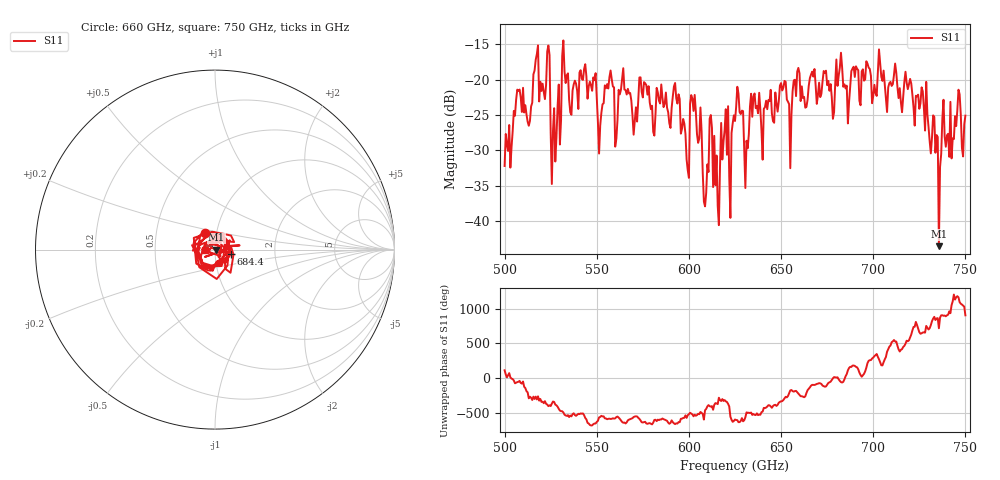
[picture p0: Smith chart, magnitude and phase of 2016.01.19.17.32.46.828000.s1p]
!Created with skrf (http://scikit-rf.org).
# GHz S RI R 50.0
!freq ReS11 ImS11
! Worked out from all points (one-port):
!   401 points, 500 GHz to 750 GHz, reference 50 ohm
!   lowest |S11| = -43.5 dB at 735.6 GHz (marker M1), VSWR 1.01, Z = 50.7 - j0.0101 ohm
!   |S11| at or under -10 dB: start of sweep to end of sweep
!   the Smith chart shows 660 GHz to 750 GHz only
!   S11 on the Smith chart (normalised r, x): 660 GHz: 0.88, +0.17; 684.4 GHz: 1.20, -0.06; 750 GHz: 0.89, -0.01
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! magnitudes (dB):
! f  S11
! 500 GHz  -32.2
! 507.5 GHz  -21.6
! 513.8 GHz  -25.8
! 516.9 GHz  -17.2
! 523.1 GHz  -16.0
! 526.2 GHz  -27.2
! 531.2 GHz  -16.6
! 548.1 GHz  -19.7
! 551.9 GHz  -26.5
! 556.9 GHz  -19.6
! 562.5 GHz  -22.1
! 593.8 GHz  -23.4
! 598.8 GHz  -31.3
! 602.5 GHz  -24.4
! 608.8 GHz  -37.9
! 611.2 GHz  -25.5
! 615.6 GHz  -37.8
! 625 GHz  -25.8
! 631.2 GHz  -28.6
! 634.4 GHz  -25.2
! 656.2 GHz  -21.6
! 660 GHz  -19.1
! 684.4 GHz  -20.6
! 687.5 GHz  -21.0
! 718.8 GHz  -21.3
! 735.6 GHz  -43.5
! 738.8 GHz  -28.0
! 750 GHz  -25.1
